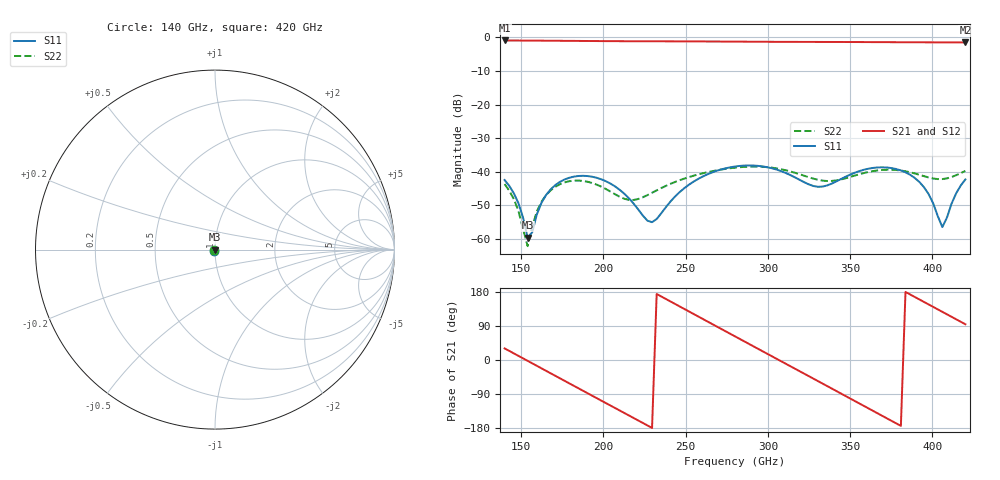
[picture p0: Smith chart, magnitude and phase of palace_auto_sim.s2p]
#  GHZ S DB R 50
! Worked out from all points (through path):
!   101 points, 140 GHz to 420 GHz, reference 50 ohm
!   highest |S21| = -0.89 dB at 140 GHz (marker M1); lowest = -1.5 dB at 420 GHz (marker M2)
!   group delay of S21, straight-line fit = 6.51 ps
!   lowest |S11| = -59.7 dB at 154 GHz (marker M3), VSWR 1.00, Z = 50 - j0.0906 ohm
!   |S11| at or under -10 dB: start of sweep to end of sweep
!   |S22| runs from -62.2 to -38.5 dB; largest |S21 - S12| = 1e-13
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140  -42.49 -135.2  -0.89 30.6  -0.89 30.6  -43.70 -134.2
148.4  -49.40 -149.6  -0.92 10.9  -0.92 10.9  -51.70 -146.9
154  -59.74 -118.4  -0.93 -2.3  -0.93 -2.3  -62.22 -82.4
156.8  -58.05 -55.7  -0.94 -8.8  -0.94 -8.8  -56.37 -38.4
159.6  -52.73 -40.1  -0.95 -15.4  -0.95 -15.4  -51.85 -33.7
165.2  -46.96 -44.7  -0.97 -28.5  -0.97 -28.5  -47.00 -42.7
173.6  -43.06 -65.2  -0.99 -48.3  -0.99 -48.3  -43.76 -65.5
187.6  -41.24 -106.7  -1.04 -81.1  -1.04 -81.1  -42.77 -111.6
201.6  -42.87 -152.7  -1.09 -113.8  -1.09 -113.8  -45.20 -169.6
215.6  -47.97 153.9  -1.13 -146.5  -1.13 -146.5  -48.43 105.8
226.8  -54.62 78.1  -1.14 -172.7  -1.14 -172.7  -47.00 34.0
235.2  -52.41 -6.4  -1.15 167.6  -1.15 167.6  -44.90 -6.8
260.4  -41.46 -117.5  -1.19 108.4  -1.19 108.4  -40.50 -108.4
280  -38.47 174.2  -1.24 62.4  -1.24 62.4  -38.82 173.4
294  -38.28 125.3  -1.28 29.6  -1.28 29.6  -38.51 117.8
305.2  -39.38 83.8  -1.30 3.4  -1.30 3.4  -39.02 72.6
327.6  -44.28 -26.8  -1.33 -49.1  -1.33 -49.1  -42.08 -30.6
350  -40.89 -151.1  -1.36 -101.6  -1.36 -101.6  -41.58 -152.9
375.2  -38.94 125.3  -1.41 -160.8  -1.41 -160.8  -39.43 102.7
394.8  -44.62 63.0  -1.45 153.3  -1.45 153.3  -41.34 17.1
406  -56.53 -38.7  -1.47 127.1  -1.47 127.1  -42.22 -48.1
420  -42.33 -157.6  -1.49 94.2  -1.49 94.2  -39.79 -126.5
